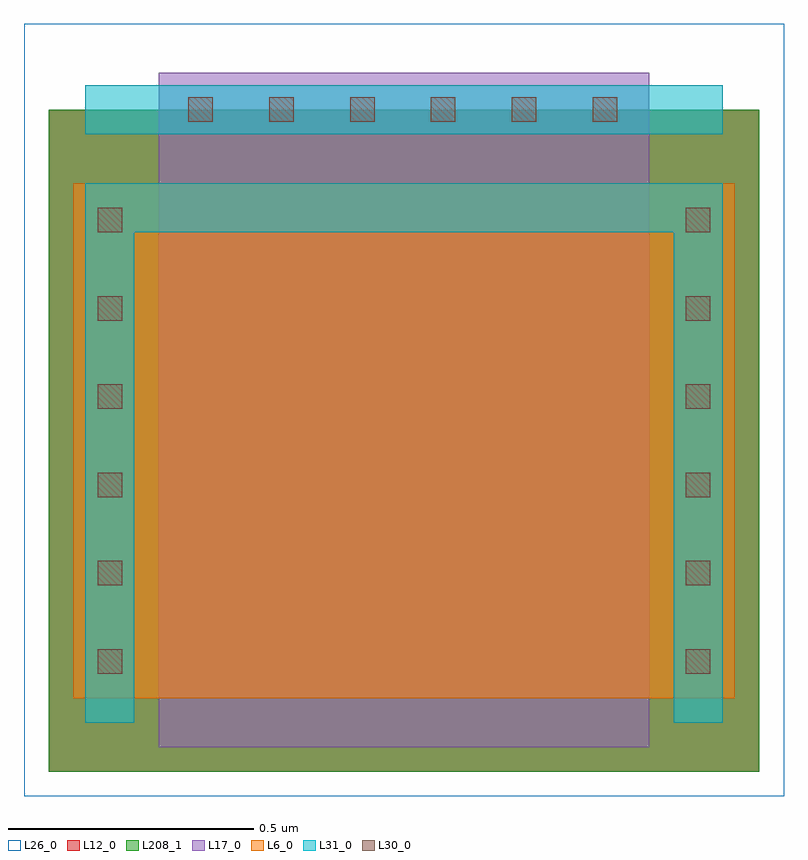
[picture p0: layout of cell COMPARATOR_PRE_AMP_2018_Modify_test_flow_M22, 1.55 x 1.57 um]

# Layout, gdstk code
import gdstk
lib = gdstk.Library(unit=1e-6, precision=1e-09)
def R(c, l, rs):  # rectangles x0, y0, x1, y1
    for r in rs: c.add(gdstk.rectangle(r[:2], r[2:], *l))
def A(c, l, x, y, w, h, nx, ny, dx, dy):  # array of equal rectangles
    R(c, l, [(x+i*dx, y+j*dy, x+i*dx+w, y+j*dy+h) for i in range(nx) for j in range(ny)])
L6_0 = (6, 0)
L12_0 = (12, 0)
L17_0 = (17, 0)
L26_0 = (26, 0)
L30_0 = (30, 0)
L31_0 = (31, 0)
L208_1 = (208, 1)

comparator_pre_amp_2018_ = lib.new_cell('COMPARATOR_PRE_AMP_2018_Modify_test_flow_M22')
R(comparator_pre_amp_2018_, L6_0, [(-0.075,0,1.275,1.05)])
R(comparator_pre_amp_2018_, L12_0, [(-0.125,-0.15,1.325,1.2)])
R(comparator_pre_amp_2018_, L17_0, [(0.1,-0.1,1.1,1.15), (0.1,1.05,1.1,1.275)])
R(comparator_pre_amp_2018_, L26_0, [(-0.175,-0.2,1.375,1.375)])
A(comparator_pre_amp_2018_, L30_0, -0.025, 0.05, 0.05, 0.05, 1, 6, 0, 0.18)
A(comparator_pre_amp_2018_, L30_0, 1.175, 0.05, 0.05, 0.05, 1, 6, 0, 0.18)
A(comparator_pre_amp_2018_, L30_0, 0.16, 1.175, 0.05, 0.05, 6, 1, 0.165, 0)
R(comparator_pre_amp_2018_, L31_0, [(-0.05,-0.05,0.05,1.05), (1.15,-0.05,1.25,1.05), (-0.05,0,0.05,1.05), (1.15,0,1.25,1.05), (-0.05,0.95,1.25,1.05), (-0.05,1.15,1.25,1.25), (0.1,1.15,1.1,1.25)])
R(comparator_pre_amp_2018_, L208_1, [(-0.125,-0.15,1.325,1.2)])

lib.write_gds('COMPARATOR_PRE_AMP_2018_Modify_test_flow_M22.gds')
